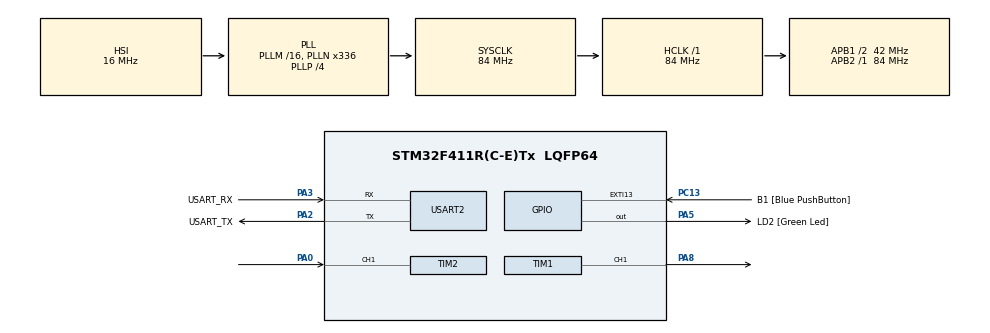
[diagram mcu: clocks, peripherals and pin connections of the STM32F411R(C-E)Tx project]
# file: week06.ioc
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Dma.Request0=TIM2_CH1
Dma.TIM2_CH1.0.Direction=DMA_PERIPH_TO_MEMORY
Dma.TIM2_CH1.0.FIFOMode=DMA_FIFOMODE_DISABLE
Dma.TIM2_CH1.0.Instance=DMA1_Stream5
Dma.TIM2_CH1.0.MemDataAlignment=DMA_MDATAALIGN_WORD
Dma.TIM2_CH1.0.MemInc=DMA_MINC_ENABLE
Dma.TIM2_CH1.0.Mode=DMA_CIRCULAR
Dma.TIM2_CH1.0.PeriphDataAlignment=DMA_PDATAALIGN_WORD
Dma.TIM2_CH1.0.PeriphInc=DMA_PINC_DISABLE
Dma.TIM2_CH1.0.Priority=DMA_PRIORITY_LOW
Mcu.Family=STM32F4
Mcu.Name=STM32F411R(C-E)Tx
Mcu.Package=LQFP64
NVIC.DMA1_Stream5_IRQn=true\:0\:0\:false\:false\:true\:false\:true\:true
NVIC.PriorityGroup=NVIC_PRIORITYGROUP_0
PA0-WKUP.Signal=S_TIM2_CH1_ETR
PA13.GPIO_Label=TMS
PA13.Mode=Serial_Wire
PA13.Signal=SYS_JTMS-SWDIO
PA14.GPIO_Label=TCK
PA14.Mode=Serial_Wire
PA14.Signal=SYS_JTCK-SWCLK
PA2.GPIO_Label=USART_TX
PA2.Mode=Asynchronous
PA2.Signal=USART2_TX
PA3.GPIO_Label=USART_RX
PA3.Mode=Asynchronous
PA3.Signal=USART2_RX
PA5.GPIO_Label=LD2 [Green Led]
PA5.Signal=GPIO_Output
PA8.Signal=S_TIM1_CH1
PB3.GPIO_Label=SWO
PB3.Signal=SYS_JTDO-SWO
PC13-ANTI_TAMP.GPIO_Label=B1 [Blue PushButton]
PC13-ANTI_TAMP.GPIO_ModeDefaultEXTI=GPIO_MODE_IT_FALLING
PC13-ANTI_TAMP.Signal=GPXTI13
PC14-OSC32_IN.Mode=LSE-External-Oscillator
PC14-OSC32_IN.Signal=RCC_OSC32_IN
PC15-OSC32_OUT.Mode=LSE-External-Oscillator
PC15-OSC32_OUT.Signal=RCC_OSC32_OUT
PH0\ -\ OSC_IN.Mode=HSE-External-Clock-Source
PH0\ -\ OSC_IN.Signal=RCC_OSC_IN
PH1\ -\ OSC_OUT.Mode=HSE-External-Clock-Source
PH1\ -\ OSC_OUT.Signal=RCC_OSC_OUT
ProjectManager.HeapSize=0x200
ProjectManager.StackSize=0x400
ProjectManager.TargetToolchain=STM32CubeIDE
RCC.48MHZClocksFreq_Value=84000000
RCC.AHBFreq_Value=84000000
RCC.APB1CLKDivider=RCC_HCLK_DIV2
RCC.APB1Freq_Value=42000000
RCC.APB1TimFreq_Value=84000000
RCC.APB2Freq_Value=84000000
RCC.APB2TimFreq_Value=84000000
RCC.CortexFreq_Value=84000000
RCC.FLatency-AdvancedSettings=FLASH_LATENCY_2
RCC.HCLKFreq_Value=84000000
RCC.HSE_VALUE=8000000
RCC.HSI_VALUE=16000000
RCC.PLLN=336
RCC.PLLP=RCC_PLLP_DIV4
RCC.SYSCLKFreq_VALUE=84000000
RCC.SYSCLKSource=RCC_SYSCLKSOURCE_PLLCLK
RCC.VCOOutputFreq_Value=336000000
SH.S_TIM1_CH1.0=TIM1_CH1,PWM Generation1 CH1
SH.S_TIM2_CH1_ETR.0=TIM2_CH1,Input_Capture1_from_TI1
TIM1.Channel-PWM\ Generation1\ CH1=TIM_CHANNEL_1
TIM1.Period=9999
TIM1.Prescaler=83
TIM1.Pulse-PWM\ Generation1\ CH1=5000
TIM2.Channel-Input_Capture1_from_TI1=TIM_CHANNEL_1
TIM2.Prescaler=83
USART2.VirtualMode=VM_ASYNC
VP_TIM1_VS_ClockSourceINT.Mode=Internal
VP_TIM2_VS_ClockSourceINT.Mode=Internal
board=NUCLEO-F411RE

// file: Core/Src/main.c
/* USER CODE BEGIN Header */
/**
  ******************************************************************************
  * @file           : main.c
  * @brief          : Main program body
  ******************************************************************************
  * @attention
  *
  * Copyright (c) 2023 STMicroelectronics.
  * All rights reserved.
  *
  * This software is licensed under terms that can be found in the LICENSE file
  * in the root directory of this software component.
  * If no LICENSE file comes with this software, it is provided AS-IS.
  *
  ******************************************************************************
  */
/* USER CODE END Header */
#include "main.h"

/* USER CODE BEGIN Includes */
#define IC_BUFFER_SIZE 20
/* USER CODE END Includes */

TIM_HandleTypeDef htim1;
TIM_HandleTypeDef htim2;
DMA_HandleTypeDef hdma_tim2_ch1;

UART_HandleTypeDef huart2;

/* USER CODE BEGIN PV */
uint32_t InputCaptureBuffer[IC_BUFFER_SIZE];
float averageRisingedgePeriod;
int16_t MotorSetDuty= 50;
float MotorSetRPM = 0;
int16_t MotorControlEnable = 0;
float MotorReadRPM = 0;
uint32_t duty = 5000;

/* USER CODE END PV */

void SystemClock_Config(void);
static void MX_GPIO_Init(void);
static void MX_DMA_Init(void);
static void MX_USART2_UART_Init(void);
static void MX_TIM1_Init(void);
static void MX_TIM2_Init(void);
/* USER CODE BEGIN PFP */
float IC_Calc_Period();
/* USER CODE END PFP */

int main(void)
{

  /* MCU Configuration--------------------------------------------------------*/

  /* Reset of all peripherals, Initializes the Flash interface and the Systick. */
  HAL_Init();

  /* Configure the system clock */
  SystemClock_Config();

  /* Initialize all configured peripherals */
  MX_GPIO_Init();
  MX_DMA_Init();
  MX_USART2_UART_Init();
  MX_TIM1_Init();
  MX_TIM2_Init();
  /* USER CODE BEGIN 2 */
  HAL_TIM_Base_Start(&htim2);              //TIM2 start , store data using pointer
  HAL_TIM_IC_Start_DMA(&htim2, TIM_CHANNEL_1, InputCaptureBuffer, IC_BUFFER_SIZE);  //DMA start when pointer get vaule

  HAL_TIM_Base_Start(&htim1);              //TIM1 start , store data using pointer
  HAL_TIM_PWM_Start(&htim1, TIM_CHANNEL_1);//PWM start
  /* USER CODE END 2 */

  /* Infinite loop */
  while (1)
  {

    /* USER CODE BEGIN 3 */

	 static uint32_t timestamp = 0;
	 if (HAL_GetTick()>= timestamp)
	 {
		 timestamp = HAL_GetTick()+500;    // 2 hz
		 if (MotorControlEnable == 0)      //CASE 1: Duty cycle Control
	         {
			 	 __HAL_TIM_SET_COMPARE(&htim1, TIM_CHANNEL_1, duty);  //Change Value of pulse using duty
			 	 duty = MotorSetDuty *100;                            //MotorSetDuty*100 because of 10000 Period
			 	 MotorReadRPM = 60/(IC_Calc_Period() * 0.000001*768); //To RPM
			 }

		 else if (MotorControlEnable == 1) //CASE 1: RPM Control
		 	 {

			 	 if (MotorSetRPM > MotorReadRPM * 0.95)  // 5% threshold
			 	 {
			 		duty = duty + 100;						//1% increase

			 		MotorReadRPM = 60/(IC_Calc_Period() * 0.000001*768);
			 		__HAL_TIM_SET_COMPARE(&htim1, TIM_CHANNEL_1, duty);
			 	 }
			 	 else if (MotorSetRPM < MotorReadRPM * 1.05) // 5% threshold
			 	 {
			 		duty = duty - 100; 						//1% increase

			 		MotorReadRPM = 60/(IC_Calc_Period() * 0.000001*768);
			 		__HAL_TIM_SET_COMPARE(&htim1, TIM_CHANNEL_1, duty);
			 	 }
		 	 }

	 }
	 }
	 }

  /* USER CODE END 3 */

void SystemClock_Config(void)
{
  RCC_OscInitTypeDef RCC_OscInitStruct = {0};
  RCC_ClkInitTypeDef RCC_ClkInitStruct = {0};

  /** Configure the main internal regulator output voltage
  */
  __HAL_RCC_PWR_CLK_ENABLE();
  __HAL_PWR_VOLTAGESCALING_CONFIG(PWR_REGULATOR_VOLTAGE_SCALE1);

  /** Initializes the RCC Oscillators according to the specified parameters
  * in the RCC_OscInitTypeDef structure.
  */
  RCC_OscInitStruct.OscillatorType = RCC_OSCILLATORTYPE_HSI;
  RCC_OscInitStruct.HSIState = RCC_HSI_ON;
  RCC_OscInitStruct.HSICalibrationValue = RCC_HSICALIBRATION_DEFAULT;
  RCC_OscInitStruct.PLL.PLLState = RCC_PLL_ON;
  RCC_OscInitStruct.PLL.PLLSource = RCC_PLLSOURCE_HSI;
  RCC_OscInitStruct.PLL.PLLM = 16;
  RCC_OscInitStruct.PLL.PLLN = 336;
  RCC_OscInitStruct.PLL.PLLP = RCC_PLLP_DIV4;
  RCC_OscInitStruct.PLL.PLLQ = 4;
  if (HAL_RCC_OscConfig(&RCC_OscInitStruct) != HAL_OK)
  {
    Error_Handler();
  }

  /** Initializes the CPU, AHB and APB buses clocks
  */
  RCC_ClkInitStruct.ClockType = RCC_CLOCKTYPE_HCLK|RCC_CLOCKTYPE_SYSCLK
                              |RCC_CLOCKTYPE_PCLK1|RCC_CLOCKTYPE_PCLK2;
  RCC_ClkInitStruct.SYSCLKSource = RCC_SYSCLKSOURCE_PLLCLK;
  RCC_ClkInitStruct.AHBCLKDivider = RCC_SYSCLK_DIV1;
  RCC_ClkInitStruct.APB1CLKDivider = RCC_HCLK_DIV2;
  RCC_ClkInitStruct.APB2CLKDivider = RCC_HCLK_DIV1;

  if (HAL_RCC_ClockConfig(&RCC_ClkInitStruct, FLASH_LATENCY_2) != HAL_OK)
  {
    Error_Handler();
  }
}

static void MX_TIM1_Init(void)
{

  TIM_ClockConfigTypeDef sClockSourceConfig = {0};
  TIM_MasterConfigTypeDef sMasterConfig = {0};
  TIM_OC_InitTypeDef sConfigOC = {0};
  TIM_BreakDeadTimeConfigTypeDef sBreakDeadTimeConfig = {0};

  htim1.Instance = TIM1;
  htim1.Init.Prescaler = 83;
  htim1.Init.CounterMode = TIM_COUNTERMODE_UP;
  htim1.Init.Period = 9999;
  htim1.Init.ClockDivision = TIM_CLOCKDIVISION_DIV1;
  htim1.Init.RepetitionCounter = 0;
  htim1.Init.AutoReloadPreload = TIM_AUTORELOAD_PRELOAD_DISABLE;
  if (HAL_TIM_Base_Init(&htim1) != HAL_OK)
  {
    Error_Handler();
  }
  sClockSourceConfig.ClockSource = TIM_CLOCKSOURCE_INTERNAL;
  if (HAL_TIM_ConfigClockSource(&htim1, &sClockSourceConfig) != HAL_OK)
  {
    Error_Handler();
  }
  if (HAL_TIM_PWM_Init(&htim1) != HAL_OK)
  {
    Error_Handler();
  }
  sMasterConfig.MasterOutputTrigger = TIM_TRGO_RESET;
  sMasterConfig.MasterSlaveMode = TIM_MASTERSLAVEMODE_DISABLE;
  if (HAL_TIMEx_MasterConfigSynchronization(&htim1, &sMasterConfig) != HAL_OK)
  {
    Error_Handler();
  }
  sConfigOC.OCMode = TIM_OCMODE_PWM1;
  sConfigOC.Pulse = 5000;
  sConfigOC.OCPolarity = TIM_OCPOLARITY_HIGH;
  sConfigOC.OCNPolarity = TIM_OCNPOLARITY_HIGH;
  sConfigOC.OCFastMode = TIM_OCFAST_DISABLE;
  sConfigOC.OCIdleState = TIM_OCIDLESTATE_RESET;
  sConfigOC.OCNIdleState = TIM_OCNIDLESTATE_RESET;
  if (HAL_TIM_PWM_ConfigChannel(&htim1, &sConfigOC, TIM_CHANNEL_1) != HAL_OK)
  {
    Error_Handler();
  }
  sBreakDeadTimeConfig.OffStateRunMode = TIM_OSSR_DISABLE;
  sBreakDeadTimeConfig.OffStateIDLEMode = TIM_OSSI_DISABLE;
  sBreakDeadTimeConfig.LockLevel = TIM_LOCKLEVEL_OFF;
  sBreakDeadTimeConfig.DeadTime = 0;
  sBreakDeadTimeConfig.BreakState = TIM_BREAK_DISABLE;
  sBreakDeadTimeConfig.BreakPolarity = TIM_BREAKPOLARITY_HIGH;
  sBreakDeadTimeConfig.AutomaticOutput = TIM_AUTOMATICOUTPUT_DISABLE;
  if (HAL_TIMEx_ConfigBreakDeadTime(&htim1, &sBreakDeadTimeConfig) != HAL_OK)
  {
    Error_Handler();
  }
  HAL_TIM_MspPostInit(&htim1);

}

static void MX_TIM2_Init(void)
{

  TIM_ClockConfigTypeDef sClockSourceConfig = {0};
  TIM_MasterConfigTypeDef sMasterConfig = {0};
  TIM_IC_InitTypeDef sConfigIC = {0};

  htim2.Instance = TIM2;
  htim2.Init.Prescaler = 83;
  htim2.Init.CounterMode = TIM_COUNTERMODE_UP;
  htim2.Init.Period = 4294967295;
  htim2.Init.ClockDivision = TIM_CLOCKDIVISION_DIV1;
  htim2.Init.AutoReloadPreload = TIM_AUTORELOAD_PRELOAD_DISABLE;
  if (HAL_TIM_Base_Init(&htim2) != HAL_OK)
  {
    Error_Handler();
  }
  sClockSourceConfig.ClockSource = TIM_CLOCKSOURCE_INTERNAL;
  if (HAL_TIM_ConfigClockSource(&htim2, &sClockSourceConfig) != HAL_OK)
  {
    Error_Handler();
  }
  if (HAL_TIM_IC_Init(&htim2) != HAL_OK)
  {
    Error_Handler();
  }
  sMasterConfig.MasterOutputTrigger = TIM_TRGO_RESET;
  sMasterConfig.MasterSlaveMode = TIM_MASTERSLAVEMODE_DISABLE;
  if (HAL_TIMEx_MasterConfigSynchronization(&htim2, &sMasterConfig) != HAL_OK)
  {
    Error_Handler();
  }
  sConfigIC.ICPolarity = TIM_INPUTCHANNELPOLARITY_RISING;
  sConfigIC.ICSelection = TIM_ICSELECTION_DIRECTTI;
  sConfigIC.ICPrescaler = TIM_ICPSC_DIV1;
  sConfigIC.ICFilter = 0;
  if (HAL_TIM_IC_ConfigChannel(&htim2, &sConfigIC, TIM_CHANNEL_1) != HAL_OK)
  {
    Error_Handler();
  }

}

static void MX_USART2_UART_Init(void)
{

  huart2.Instance = USART2;
  huart2.Init.BaudRate = 115200;
  huart2.Init.WordLength = UART_WORDLENGTH_8B;
  huart2.Init.StopBits = UART_STOPBITS_1;
  huart2.Init.Parity = UART_PARITY_NONE;
  huart2.Init.Mode = UART_MODE_TX_RX;
  huart2.Init.HwFlowCtl = UART_HWCONTROL_NONE;
  huart2.Init.OverSampling = UART_OVERSAMPLING_16;
  if (HAL_UART_Init(&huart2) != HAL_OK)
  {
    Error_Handler();
  }

}

static void MX_DMA_Init(void)
{

  /* DMA controller clock enable */
  __HAL_RCC_DMA1_CLK_ENABLE();

  /* DMA interrupt init */
  /* DMA1_Stream5_IRQn interrupt configuration */
  HAL_NVIC_SetPriority(DMA1_Stream5_IRQn, 0, 0);
  HAL_NVIC_EnableIRQ(DMA1_Stream5_IRQn);

}

static void MX_GPIO_Init(void)
{
  GPIO_InitTypeDef GPIO_InitStruct = {0};

  /* GPIO Ports Clock Enable */
  __HAL_RCC_GPIOC_CLK_ENABLE();
  __HAL_RCC_GPIOH_CLK_ENABLE();
  __HAL_RCC_GPIOA_CLK_ENABLE();
  __HAL_RCC_GPIOB_CLK_ENABLE();

  /*Configure GPIO pin Output Level */
  HAL_GPIO_WritePin(LD2_GPIO_Port, LD2_Pin, GPIO_PIN_RESET);

  /*Configure GPIO pin : B1_Pin */
  GPIO_InitStruct.Pin = B1_Pin;
  GPIO_InitStruct.Mode = GPIO_MODE_IT_FALLING;
  GPIO_InitStruct.Pull = GPIO_NOPULL;
  HAL_GPIO_Init(B1_GPIO_Port, &GPIO_InitStruct);

  /*Configure GPIO pin : LD2_Pin */
  GPIO_InitStruct.Pin = LD2_Pin;
  GPIO_InitStruct.Mode = GPIO_MODE_OUTPUT_PP;
  GPIO_InitStruct.Pull = GPIO_NOPULL;
  GPIO_InitStruct.Speed = GPIO_SPEED_FREQ_LOW;
  HAL_GPIO_Init(LD2_GPIO_Port, &GPIO_InitStruct);

}

/* USER CODE BEGIN 4 */
float IC_Calc_Period()
{
	uint32_t currentDMApointer = IC_BUFFER_SIZE - __HAL_DMA_GET_COUNTER((htim2.hdma[1]));
	uint32_t lastValidDMApointer = (currentDMApointer -1 + IC_BUFFER_SIZE) % IC_BUFFER_SIZE;
	uint32_t i = (lastValidDMApointer +  IC_BUFFER_SIZE - 10) % IC_BUFFER_SIZE;

	int32_t sumdiff = 0;
	while (i != lastValidDMApointer)
	{
		uint32_t firstCapture = InputCaptureBuffer[i] ;

		uint32_t nextCapture = InputCaptureBuffer[(i+1)%IC_BUFFER_SIZE];
		sumdiff += nextCapture - firstCapture ;
		i = (i+1) % IC_BUFFER_SIZE;
	}
	return sumdiff/ 10.0;
}
/* USER CODE END 4 */

void Error_Handler(void)
{
  __disable_irq();
  while (1)
  {
  }
}
